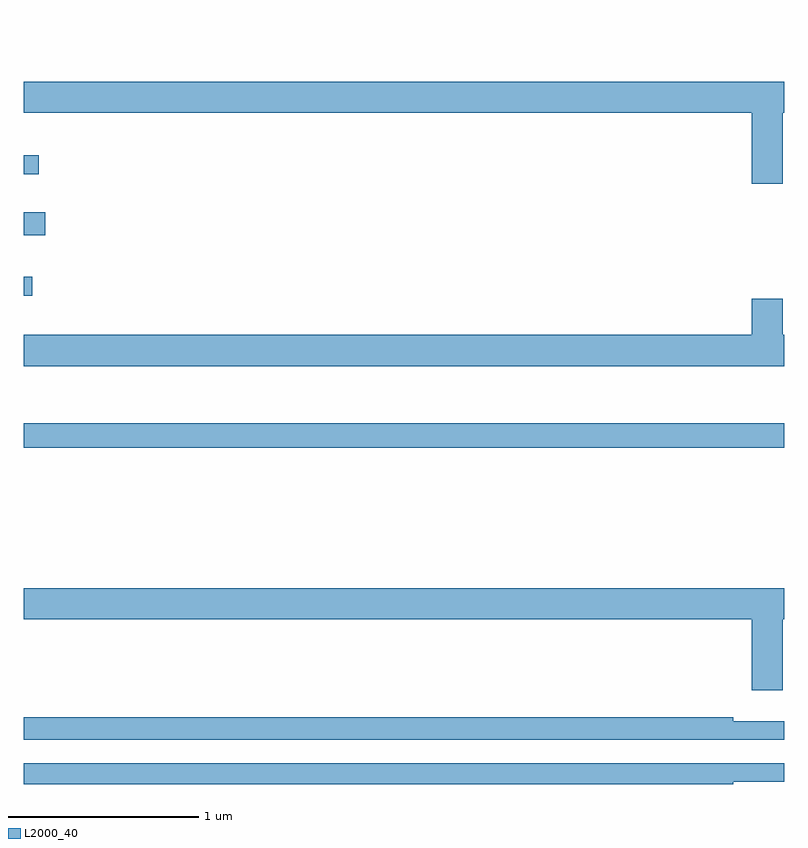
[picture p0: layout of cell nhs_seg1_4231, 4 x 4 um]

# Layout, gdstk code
import gdstk
lib = gdstk.Library(unit=1e-6, precision=1e-09)
def R(c, l, rs):  # rectangles x0, y0, x1, y1
    for r in rs: c.add(gdstk.rectangle(r[:2], r[2:], *l))
def P(c, l, *ps):  # polygons
    for p in ps: c.add(gdstk.Polygon(p, *l))
L2000_40 = (2000, 40)

nhs_seg1_4231 = lib.new_cell('nhs_seg1_4231')
R(nhs_seg1_4231, L2000_40, [(341,549.97,345,550.099), (341,550.769,341.044,550.87), (341,551.087,341.113,551.209), (341,551.409,341.08,551.509), (341,552.198,345,552.199)])
P(nhs_seg1_4231, L2000_40, [(344.992,551.732),(345,551.732),(345,551.896),(341,551.896),(341,551.732),(344.828,551.732),(344.828,551.358),(344.992,551.358)],
  [(345,550.564),(344.992,550.564),(344.992,550.753),(344.828,550.753),(344.828,550.564),(341,550.564),(341,550.4),(345,550.4)],
  [(344.992,549.068),(345,549.068),(345,549.232),(341,549.232),(341,549.068),(344.828,549.068),(344.828,548.694),(344.992,548.694)],
  [(345,548.533),(344.732,548.533),(344.732,548.552),(341,548.552),(341,548.436),(345,548.436)],
  [(344.732,548.214),(345,548.214),(345,548.31),(341,548.31),(341,548.202),(344.732,548.202)])

lib.write_gds('nhs_seg1_4231.gds')
